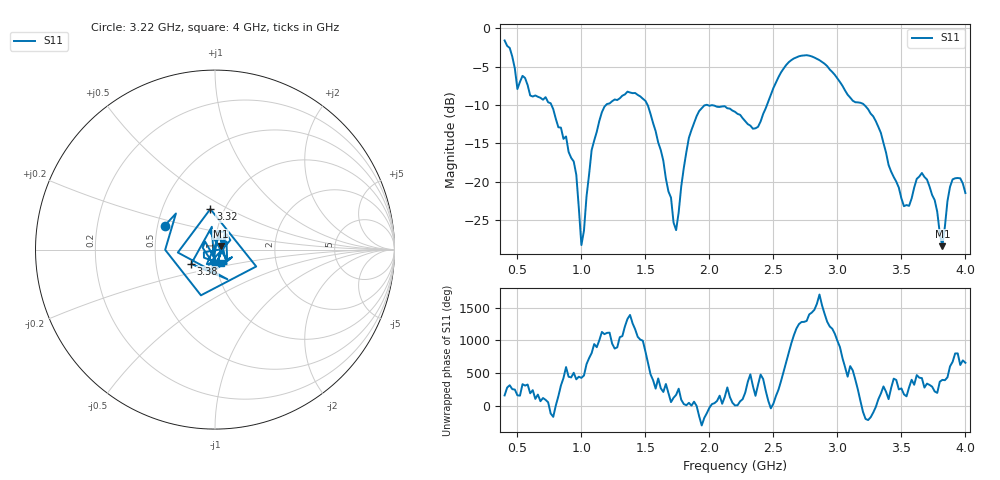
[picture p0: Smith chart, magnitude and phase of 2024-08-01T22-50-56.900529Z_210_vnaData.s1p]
!Created with skrf (http://scikit-rf.org).
# Hz S RI R 50.0
!freq ReS11 ImS11
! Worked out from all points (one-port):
!   181 points, 400 MHz to 4 GHz, reference 50 ohm
!   lowest |S11| = -28.4 dB at 3.82 GHz (marker M1), VSWR 1.08, Z = 53.3 + j2.22 ohm
!   |S11| at or under -10 dB: 1.517 GHz to 1.975 GHz (458 MHz wide, 26.2 % of centre); 1.983 GHz to 2.45 GHz (466.5 MHz wide, 21 % of centre); 3.21 GHz to end of sweep (the widest 3 of 4)
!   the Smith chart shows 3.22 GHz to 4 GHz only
!   S11 on the Smith chart (normalised r, x): 3.22 GHz: 0.55, +0.16; 3.32 GHz: 0.86, +0.41; 3.38 GHz: 0.76, -0.12; 4 GHz: 1.06, -0.16
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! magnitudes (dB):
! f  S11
! 400 MHz  -1.6
! 500 MHz  -7.9
! 720 MHz  -9.0
! 860 MHz  -14.4
! 960 MHz  -19.1
! 1 GHz  -28.2
! 1.08 GHz  -15.9
! 1.18 GHz  -10.2
! 1.3 GHz  -9.1
! 1.52 GHz  -10.1
! 1.72 GHz  -25.3
! 1.76 GHz  -24.0
! 1.84 GHz  -14.3
! 1.92 GHz  -10.8
! 2.2 GHz  -10.9
! 2.38 GHz  -12.8
! 2.66 GHz  -4.0
! 2.86 GHz  -4.2
! 3.1 GHz  -9.0
! 3.22 GHz  -10.2
! 3.32 GHz  -12.9
! 3.38 GHz  -16.2
! 3.56 GHz  -23.1
! 3.66 GHz  -18.9
! 3.76 GHz  -22.4
! 3.82 GHz  -28.4
! 3.9 GHz  -19.7
! 4 GHz  -21.5
